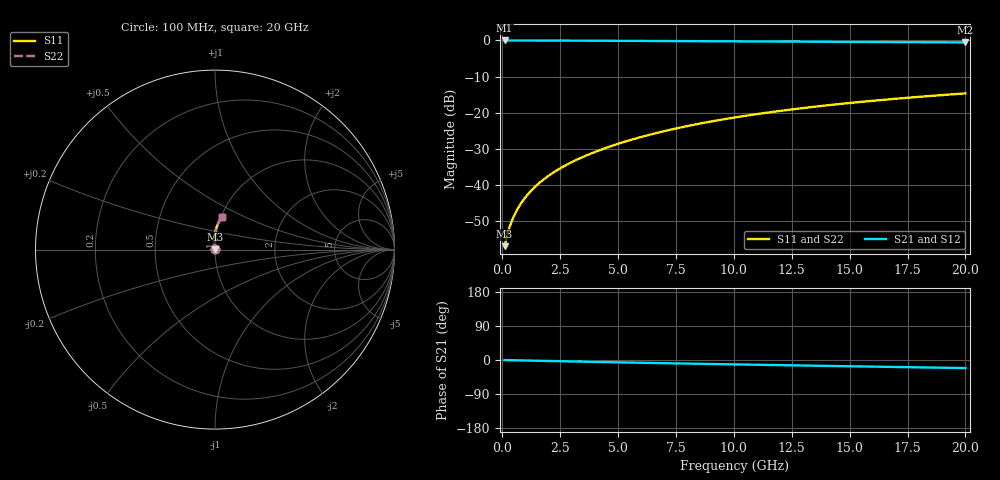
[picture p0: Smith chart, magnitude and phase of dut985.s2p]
! Touchstone file exported from HFSS 2024.1.0
!  File:  C:/UserFiles/LocalFiles/RDL_TSV_Batchsim/temp_RDL_bottom_985_1779943686.aedt
!  Generated:  12:50:21 PM May 28, 2026
!  Design:  RDL_bottom
!  Project:  temp_RDL_bottom_985_1779943686
!  Setup:  Setup1
!  Solution:  Sweep
! Variables:
!  dtsv = 10.80580581um
!  hbump = 3um
!  htsv = 56.15um
!  ldown = 312.05um
!  lrdl = 100um
!  p = 40
!  p1 = 48.26um
!  rhole = 1um
!  t = 450um
!  tdown = 4.06um
!  trdl = 3.915915916um
!  wdown = 27.97um
!  wrdl = 20um
# GHz S MA R 50.000000
! Terminal data exported
! Port[1] = RDL1_T1
! Port[2] = RDL1_T2
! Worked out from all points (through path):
!   200 points, 100 MHz to 20 GHz, reference 50 ohm
!   highest |S21| = -0.01 dB at 100 MHz (marker M1); lowest = -0.5 dB at 20 GHz (marker M2)
!   group delay of S21, straight-line fit = 2.91 ps
!   lowest |S11| = -56.8 dB at 100 MHz (marker M3), VSWR 1.00, Z = 50.1 + j0.0793 ohm
!   |S11| at or under -10 dB: start of sweep to end of sweep
!   |S22| runs from -56.8 to -14.6 dB; largest |S21 - S12| = 3.5e-15
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0.1  0.001438 33.4  0.9988 -0.1  0.9988 -0.1  0.001438 33.4
! Gamma 0 0 0 0
! Port Impedance 50 0 50 0
0.2  0.001986 49.5  0.9987 -0.3  0.9987 -0.3  0.001986 49.5
0.3  0.002563 58.0  0.9986 -0.4  0.9986 -0.4  0.002563 58.0
0.4  0.003142 63.6  0.9985 -0.5  0.9985 -0.5  0.003143 63.6
0.5  0.00373 67.8  0.9984 -0.7  0.9984 -0.7  0.00373 67.8
0.6  0.004327 71.1  0.9983 -0.8  0.9983 -0.8  0.004327 71.1
0.8  0.005554 75.9  0.9981 -1.1  0.9981 -1.1  0.005554 75.9
1.1  0.007459 80.6  0.9977 -1.4  0.9977 -1.4  0.007459 80.6
1.3  0.008762 82.8  0.9974 -1.7  0.9974 -1.7  0.008762 82.7
1.6  0.01076 85.2  0.9969 -2.1  0.9969 -2.1  0.01076 85.2
2.1  0.01422 88.2  0.9959 -2.7  0.9959 -2.7  0.01421 88.2
2.7  0.01856 90.5  0.9944 -3.5  0.9944 -3.5  0.01856 90.5
3.5  0.02471 92.5  0.9921 -4.5  0.9921 -4.5  0.02471 92.5
4.2  0.03042 93.6  0.9897 -5.3  0.9897 -5.3  0.03042 93.6
5  0.03731 94.2  0.9869 -6.2  0.9869 -6.2  0.03731 94.2
6.8  0.05397 94.0  0.9802 -8.2  0.9802 -8.2  0.05397 94.0
8.4  0.06969 92.8  0.9744 -9.9  0.9744 -9.9  0.06969 92.8
10.1  0.08687 90.9  0.9685 -11.7  0.9685 -11.7  0.08686 90.9
11.7  0.1032 88.9  0.9633 -13.3  0.9633 -13.3  0.1032 88.9
13.4  0.1205 86.7  0.9581 -15.0  0.9581 -15.0  0.1205 86.6
16.7  0.1535 82.3  0.9484 -18.2  0.9484 -18.2  0.1535 82.3
20  0.1855 78.1  0.939 -21.3  0.939 -21.3  0.1854 78.1
